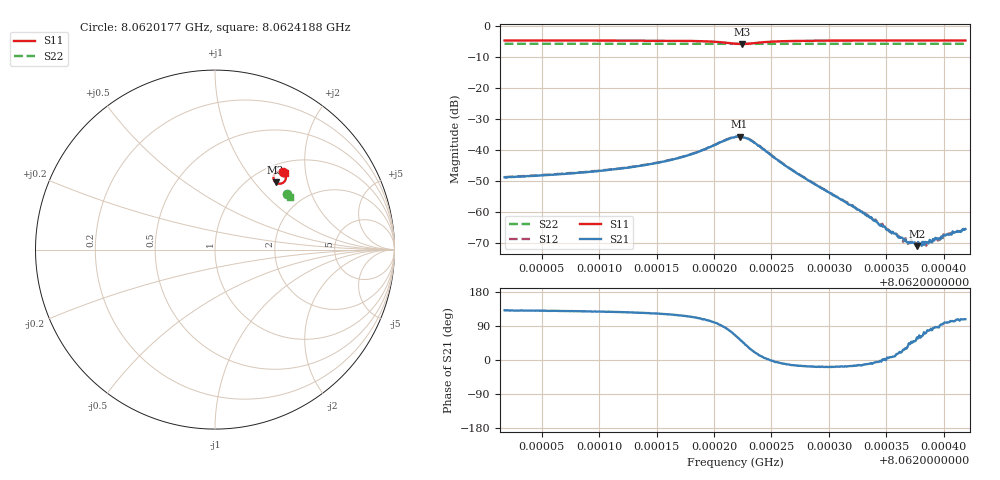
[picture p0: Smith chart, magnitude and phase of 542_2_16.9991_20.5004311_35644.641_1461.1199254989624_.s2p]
#  HZ  S  RI  R  50.00
! Rohde & Schwarz Vector Network Analyzer
! Rohde-Schwarz,ZNB20-2Port,1311601062101988,3.16
! Created: UTC 3/20/2024, 11:16:21 PM
! freq[Hz]  re:S11  im:S11  re:S21  im:S21  re:S12  im:S12  re:S22  im:S22
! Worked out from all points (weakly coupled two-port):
!   401 points, 8.0620177 GHz to 8.0624188 GHz, reference 50 ohm
!   highest |S21| = -35.79 dB at 8.0622223 GHz (marker M1); lowest = -71.1 dB at 8.0623767 GHz (marker M2)
!   lowest |S11| = -5.9 dB at 8.0622243 GHz (marker M3), VSWR 3.04, Z = 64.2 + j64.8 ohm
!   |S11| at or under -10 dB: nowhere
!   |S22| runs from -5.9 to -5.9 dB; largest |S21 - S12| = 0.0011
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8.06201774e9  0.3781 0.4344  -0.00235 0.00269  -0.00221 0.0029  0.4034 0.3103
8.06208492e9  0.3839 0.4286  -0.00266 0.00334  -0.00245 0.00356  0.4059 0.3069
8.06212001e9  0.3875 0.4241  -0.00295 0.00404  -0.00275 0.00425  0.4072 0.305
8.0621521e9  0.3915 0.4175  -0.00329 0.00521  -0.00301 0.0055  0.4082 0.3031
8.06218318e9  0.3951 0.4031  -0.00337 0.00811  -0.00292 0.00842  0.4093 0.3009
8.06220423e9  0.3876 0.3803  -0.000836 0.0128  -0.000196 0.0129  0.4094 0.2991
8.06221827e9  0.3562 0.3672  0.00659 0.0145  0.00735 0.0143  0.4083 0.2984
8.06222228e9  0.343 0.3715  0.00935 0.0133  0.0102 0.0127  0.4079 0.2985
8.06222428e9  0.3373 0.3758  0.0104 0.0121  0.0113 0.0116  0.4077 0.2986
8.06223331e9  0.3259 0.4027  0.0124 0.00581  0.0128 0.00516  0.4078 0.2993
8.06226238e9  0.355 0.4356  0.00539 -0.000994  0.00539 -0.00135  0.4107 0.2992
8.06228544e9  0.3678 0.4354  0.00281 -0.000864  0.00277 -0.00106  0.412 0.298
8.06233157e9  0.3795 0.4312  0.000879 -0.000183  0.000911 -0.000258  0.4138 0.2953
8.06235262e9  0.3825 0.4293  0.000497 6.16e-05  0.000476 1.06e-05  0.4146 0.2942
8.06236465e9  0.3839 0.4285  0.000326 0.000167  0.000305 0.000111  0.4152 0.2935
8.06236666e9  0.3842 0.4284  0.000299 0.000184  0.000336 0.000166  0.4153 0.2935
8.06237668e9  0.3852 0.4276  0.00014 0.00024  0.000183 0.00023  0.4156 0.2928
8.0623847e9  0.3861 0.4269  9.9e-05 0.000307  9.77e-05 0.000265  0.416 0.2924
8.06239273e9  0.3869 0.4265  1.87e-05 0.000379  2.2e-05 0.000358  0.4161 0.292
8.06239674e9  0.3872 0.4262  -1.2e-05 0.000378  -1.89e-06 0.000353  0.4163 0.2919
8.06240175e9  0.3876 0.4258  -6.37e-05 0.000419  -3.37e-05 0.000419  0.4165 0.2917
8.06241879e9  0.3892 0.4246  -0.000159 0.000501  -0.000148 0.000523  0.4172 0.2906
